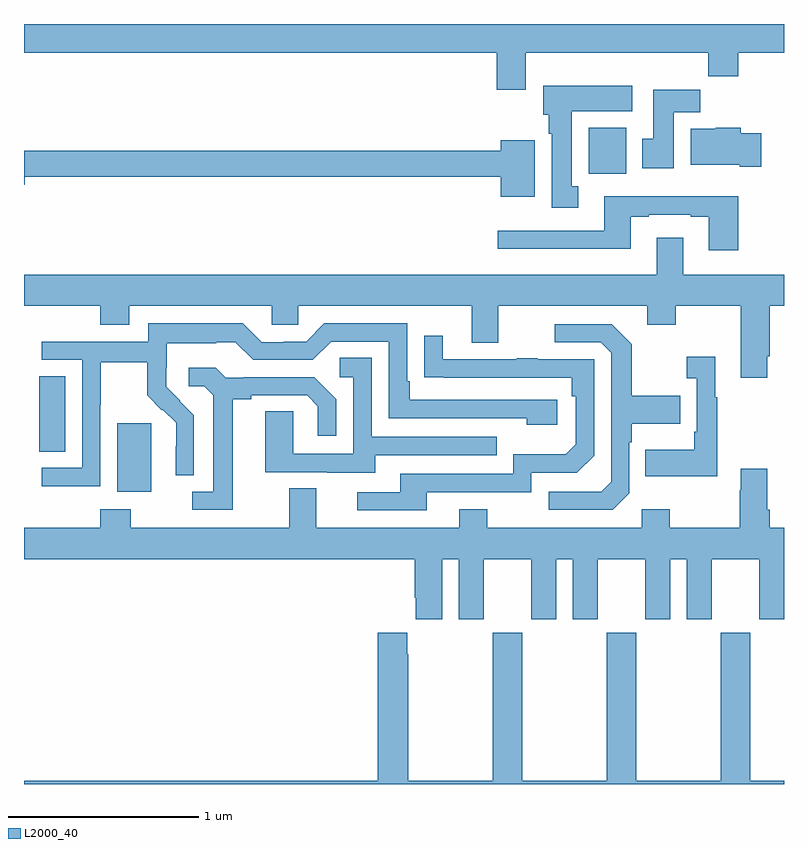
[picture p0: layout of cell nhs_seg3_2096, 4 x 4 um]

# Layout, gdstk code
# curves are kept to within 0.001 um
import gdstk
lib = gdstk.Library(unit=1e-6, precision=1e-09)
def R(c, l, rs):  # rectangles x0, y0, x1, y1
    for r in rs: c.add(gdstk.rectangle(r[:2], r[2:], *l))
def P(c, l, *ps):  # polygons
    for p in ps: c.add(gdstk.Polygon(p, *l))
L2000_40 = (2000, 40)

nhs_seg3_2096 = lib.new_cell('nhs_seg3_2096')
R(nhs_seg3_2096, L2000_40, [(219.491,699.938,219.67,700.299), (219.079,700.15,219.217,700.547), (221.972,701.612,222.169,701.854)])
P(nhs_seg3_2096, L2000_40, [(221.641,702.248),(222.601,702.248),(222.601,702.124),(222.758,702.124),(222.758,702.248),(223,702.248),(223,702.4),(219,702.4),(219,702.248),(221.489,702.248),(221.489,702.054),(221.641,702.054)],
  [(221.917,701.546),(221.884,701.546),(221.884,701.942),(222.202,701.942),(222.202,702.076),(221.732,702.076),(221.732,701.922),(221.762,701.922),(221.762,701.822),(221.777,701.822),(221.777,701.433),(221.917,701.433)],
  [(222.421,701.936),(222.56,701.936),(222.56,702.055),(222.311,702.055),(222.311,701.796),(222.254,701.796),(222.254,701.64),(222.421,701.64)],
  [(222.88,701.826),(222.773,701.826),(222.773,701.854),(222.642,701.854),(222.642,701.848),(222.509,701.848),(222.509,701.66),(222.767,701.66),(222.767,701.648),(222.88,701.648)],
  [(221.689,701.788),(221.51,701.788),(221.51,701.732),(219,701.732),(219,701.554),(219.004,701.554),(219.004,701.596),(221.51,701.596),(221.51,701.492),(221.689,701.492)],
  [(222.758,701.494),(222.053,701.494),(222.053,701.313),(221.493,701.313),(221.493,701.216),(222.193,701.216),(222.193,701.385),(222.289,701.385),(222.289,701.397),(222.509,701.397),(222.509,701.385),(222.605,701.385),(222.605,701.208),(222.758,701.208)],
  [(222.913,700.651),(222.926,700.651),(222.926,700.916),(223,700.916),(223,701.08),(222.469,701.08),(222.469,701.275),(222.329,701.275),(222.329,701.08),(219,701.08),(219,700.916),(219.401,700.916),(219.401,700.817),(219.553,700.817),(219.553,700.916),(220.305,700.916),(220.305,700.818),(220.443,700.818),(220.443,700.916),(221.357,700.916),(221.357,700.722),(221.497,700.722),(221.497,700.916),(222.281,700.916),(222.281,700.817),(222.429,700.817),(222.429,700.916),(222.773,700.916),(222.773,700.539),(222.913,700.539)],
  [(219.402,700.396),(219.405,700.396),(219.405,700.62),(219.649,700.62),(219.649,700.445),(219.726,700.368),(219.729,700.371),(219.8,700.301),(219.8,700.178),(219.798,700.178),(219.798,700.024),(219.894,700.024),(219.894,700.342),(219.748,700.49),(219.748,700.587),(219.75,700.587),(219.75,700.721),(220.013,700.721),(220.013,700.725),(220.113,700.725),(220.206,700.632),(220.521,700.632),(220.617,700.728),(220.92,700.728),(220.92,700.326),(221.645,700.326),(221.645,700.292),(221.806,700.292),(221.806,700.422),(221.029,700.422),(221.029,700.519),(221.016,700.519),(221.016,700.824),(220.581,700.824),(220.485,700.728),(220.367,700.728),(220.367,700.725),(220.251,700.725),(220.151,700.825),(219.654,700.825),(219.654,700.728),(219.093,700.728),(219.093,700.632),(219.306,700.632),(219.306,700.065),(219.093,700.065),(219.093,699.967),(219.402,699.967)],
  [(222.186,699.93),(222.186,700.199),(222.199,700.199),(222.199,700.295),(222.455,700.295),(222.455,700.443),(222.199,700.443),(222.199,700.715),(222.093,700.821),(221.793,700.821),(221.793,700.725),(222.036,700.725),(222.09,700.671),(222.09,699.99),(222.039,699.939),(221.763,699.939),(221.763,699.843),(222.099,699.843)],
  [(221.119,699.936),(221.67,699.936),(221.67,700.038),(221.91,700.038),(222,700.128),(222,700.635),(221.705,700.635),(221.705,700.64),(221.593,700.64),(221.593,700.635),(221.203,700.635),(221.203,700.759),(221.107,700.759),(221.107,700.54),(221.884,700.539),(221.884,700.442),(221.904,700.442),(221.904,700.188),(221.851,700.135),(221.574,700.135),(221.574,700.032),(220.979,700.032),(220.979,699.936),(220.755,699.936),(220.755,699.84),(221.119,699.84)],
  [(222.649,700.435),(222.637,700.435),(222.637,700.648),(222.489,700.648),(222.489,700.535),(222.54,700.535),(222.54,700.255),(222.528,700.255),(222.528,700.159),(222.271,700.159),(222.271,700.019),(222.649,700.019)],
  [(220.849,700.131),(221.489,700.131),(221.489,700.227),(220.83,700.227),(220.83,700.643),(220.662,700.643),(220.662,700.542),(220.734,700.542),(220.734,700.137),(220.416,700.137),(220.416,700.361),(220.271,700.361),(220.271,700.041),(220.595,700.041),(220.595,700.037),(220.849,700.037)],
  [(220.099,700.424),(220.195,700.424),(220.195,700.446),(220.49,700.446),(220.547,700.389),(220.547,700.233),(220.644,700.233),(220.644,700.426),(220.528,700.542),(220.156,700.542),(220.156,700.539),(220.062,700.539),(220.01,700.591),(219.867,700.591),(219.867,700.494),(219.948,700.494),(219.995,700.447),(219.995,699.939),(219.885,699.939),(219.885,699.843),(220.099,699.843)],
  [(219.401,699.847),(219.401,699.748),(219,699.748),(219,699.584),(221.057,699.584),(221.057,699.379),(221.063,699.379),(221.063,699.267),(221.2,699.267),(221.2,699.584),(221.288,699.584),(221.288,699.267),(221.419,699.267),(221.419,699.584),(221.669,699.584),(221.669,699.267),(221.8,699.267),(221.8,699.584),(221.888,699.584),(221.888,699.267),(222.019,699.267),(222.019,699.584),(222.269,699.584),(222.269,699.267),(222.4,699.267),(222.4,699.584),(222.488,699.584),(222.488,699.267),(222.619,699.267),(222.619,699.584),(222.869,699.584),(222.869,699.267),(223,699.267),(223,699.748),(222.926,699.748),(222.926,699.844),(222.913,699.844),(222.913,700.06),(222.773,700.06),(222.773,699.947),(222.766,699.947),(222.766,699.748),(222.399,699.748),(222.399,699.847),(222.252,699.847),(222.252,699.748),(221.439,699.748),(221.439,699.847),(221.291,699.847),(221.291,699.748),(220.537,699.748),(220.537,699.956),(220.397,699.956),(220.397,699.748),(219.561,699.748),(219.561,699.847)],
  [(223,698.416),(222.822,698.416),(222.822,699.196),(222.667,699.196),(222.667,698.416),(222.222,698.416),(222.222,699.196),(222.067,699.196),(222.067,698.416),(221.622,698.416),(221.622,699.196),(221.467,699.196),(221.467,698.416),(221.022,698.416),(221.022,699.083),(221.017,699.083),(221.017,699.196),(220.862,699.196),(220.862,698.416),(219,698.416),(219,698.4),(223,698.4)])

lib.write_gds('nhs_seg3_2096.gds')
